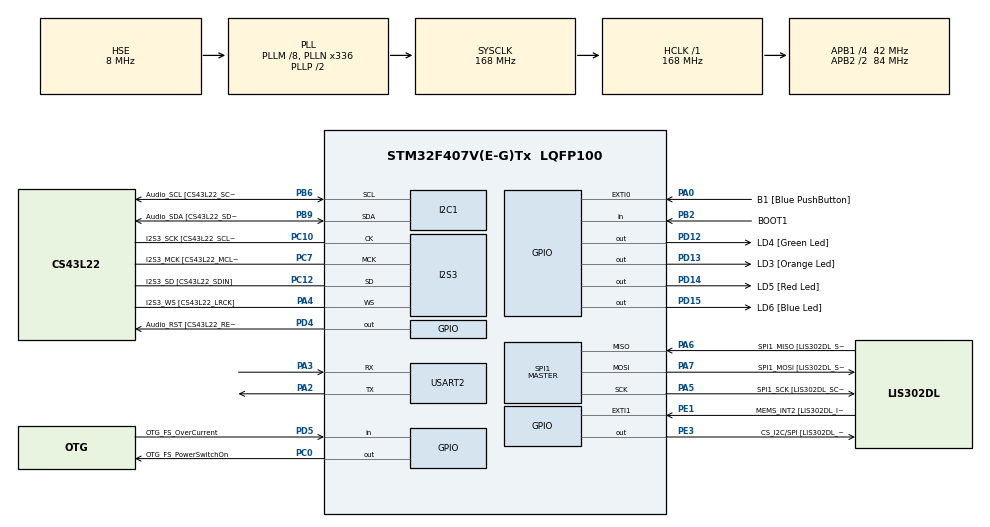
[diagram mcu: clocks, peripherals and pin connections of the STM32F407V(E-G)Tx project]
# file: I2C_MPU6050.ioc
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I2S3.AudioFreq-Half_Duplex_Master=I2S_AUDIOFREQ_96K
I2S3.ErrorAudioFreq=-2.34 %
I2S3.ErrorAudioFreq-Half_Duplex_Master=0.8 %
I2S3.FullDuplexMode=I2S_FULLDUPLEXMODE_DISABLE
I2S3.Instance=SPI$Index
I2S3.RealAudioFreq=93.75 KHz
I2S3.RealAudioFreq-Half_Duplex_Master=96.774 KHz
I2S3.VirtualMode=I2S_MODE_MASTER
Mcu.Family=STM32F4
Mcu.Name=STM32F407V(E-G)Tx
Mcu.Package=LQFP100
NVIC.PriorityGroup=NVIC_PRIORITYGROUP_0
PA0-WKUP.GPIO_Label=B1 [Blue PushButton]
PA0-WKUP.GPIO_ModeDefaultEXTI=GPIO_MODE_EVT_RISING
PA0-WKUP.GPIO_PuPd=GPIO_NOPULL
PA0-WKUP.Signal=GPXTI0
PA10.GPIO_Label=OTG_FS_ID
PA10.GPIO_Mode=GPIO_MODE_AF_PP
PA10.GPIO_PuPd=GPIO_NOPULL
PA10.GPIO_Speed=GPIO_SPEED_FREQ_LOW
PA10.Signal=USB_OTG_FS_ID
PA11.GPIO_Label=OTG_FS_DM
PA11.GPIO_Mode=GPIO_MODE_AF_PP
PA11.GPIO_PuPd=GPIO_NOPULL
PA11.GPIO_Speed=GPIO_SPEED_FREQ_LOW
PA11.Signal=USB_OTG_FS_DM
PA12.GPIO_Label=OTG_FS_DP
PA12.GPIO_Mode=GPIO_MODE_AF_PP
PA12.GPIO_PuPd=GPIO_NOPULL
PA12.GPIO_Speed=GPIO_SPEED_FREQ_LOW
PA12.Signal=USB_OTG_FS_DP
PA13.GPIO_Label=SWDIO
PA13.Mode=Serial_Wire
PA13.Signal=SYS_JTMS-SWDIO
PA14.GPIO_Label=SWCLK
PA14.Mode=Serial_Wire
PA14.Signal=SYS_JTCK-SWCLK
PA2.Mode=Asynchronous
PA2.Signal=USART2_TX
PA3.Mode=Asynchronous
PA3.Signal=USART2_RX
PA4.GPIO_Label=I2S3_WS [CS43L22_LRCK]
PA4.GPIO_Mode=GPIO_MODE_AF_PP
PA4.GPIO_PuPd=GPIO_NOPULL
PA4.GPIO_Speed=GPIO_SPEED_FREQ_LOW
PA4.Mode=Half_Duplex_Master
PA4.Signal=I2S3_WS
PA5.GPIO_Label=SPI1_SCK [LIS302DL_SCL/SPC]
PA5.GPIO_Mode=GPIO_MODE_AF_PP
PA5.GPIO_PuPd=GPIO_NOPULL
PA5.GPIO_Speed=GPIO_SPEED_FREQ_LOW
PA5.Mode=Full_Duplex_Master
PA5.Signal=SPI1_SCK
PA6.GPIO_Label=SPI1_MISO [LIS302DL_SDO]
PA6.GPIO_Mode=GPIO_MODE_AF_PP
PA6.GPIO_PuPd=GPIO_NOPULL
PA6.GPIO_Speed=GPIO_SPEED_FREQ_LOW
PA6.Mode=Full_Duplex_Master
PA6.Signal=SPI1_MISO
PA7.GPIO_Label=SPI1_MOSI [LIS302DL_SDA/SDI/SDO]
PA7.GPIO_Mode=GPIO_MODE_AF_PP
PA7.GPIO_PuPd=GPIO_NOPULL
PA7.GPIO_Speed=GPIO_SPEED_FREQ_LOW
PA7.Mode=Full_Duplex_Master
PA7.Signal=SPI1_MOSI
PA9.GPIO_Label=VBUS_FS
PA9.GPIO_Mode=GPIO_MODE_INPUT
PA9.GPIO_PuPd=GPIO_NOPULL
PA9.Signal=USB_OTG_FS_VBUS
PB10.GPIO_Label=CLK_IN [MP45DT02_CLK]
PB10.GPIO_Mode=GPIO_MODE_AF_PP
PB10.GPIO_PuPd=GPIO_NOPULL
PB10.GPIO_Speed=GPIO_SPEED_FREQ_LOW
PB10.Signal=I2S2_CK
PB2.GPIO_Label=BOOT1
PB2.GPIO_Mode=GPIO_MODE_INPUT
PB2.GPIO_PuPd=GPIO_NOPULL
PB2.Signal=GPIO_Input
PB3.GPIO_Label=SWO
PB3.Signal=SYS_JTDO-SWO
PB6.GPIO_Label=Audio_SCL [CS43L22_SCL]
PB6.GPIO_Mode=GPIO_MODE_AF_OD
PB6.GPIO_Pu=GPIO_PULLUP
PB6.GPIO_PuPd=GPIO_NOPULL
PB6.GPIO_Speed=GPIO_SPEED_FREQ_LOW
PB6.Mode=I2C
PB6.Signal=I2C1_SCL
PB9.GPIO_Label=Audio_SDA [CS43L22_SDA]
PB9.GPIO_Mode=GPIO_MODE_AF_OD
PB9.GPIO_Pu=GPIO_PULLUP
PB9.GPIO_PuPd=GPIO_NOPULL
PB9.GPIO_Speed=GPIO_SPEED_FREQ_LOW
PB9.Mode=I2C
PB9.Signal=I2C1_SDA
PC0.GPIO_Label=OTG_FS_PowerSwitchOn
PC0.GPIO_PuPd=GPIO_NOPULL
PC0.GPIO_Speed=GPIO_SPEED_FREQ_LOW
PC0.PinState=GPIO_PIN_SET
PC0.Signal=GPIO_Output
PC10.GPIO_Label=I2S3_SCK [CS43L22_SCLK]
PC10.GPIO_Mode=GPIO_MODE_AF_PP
PC10.GPIO_PuPd=GPIO_NOPULL
PC10.GPIO_Speed=GPIO_SPEED_FREQ_LOW
PC10.Mode=Half_Duplex_Master
PC10.Signal=I2S3_CK
PC12.GPIO_Label=I2S3_SD [CS43L22_SDIN]
PC12.GPIO_Mode=GPIO_MODE_AF_PP
PC12.GPIO_PuPd=GPIO_NOPULL
PC12.GPIO_Speed=GPIO_SPEED_FREQ_LOW
PC12.Mode=Half_Duplex_Master
PC12.Signal=I2S3_SD
PC14-OSC32_IN.GPIO_Label=PC14-OSC32_IN
PC14-OSC32_IN.Mode=LSE-External-Oscillator
PC14-OSC32_IN.Signal=RCC_OSC32_IN
PC15-OSC32_OUT.GPIO_Label=PC15-OSC32_OUT
PC15-OSC32_OUT.Mode=LSE-External-Oscillator
PC15-OSC32_OUT.Signal=RCC_OSC32_OUT
PC3.GPIO_Label=PDM_OUT [MP45DT02_DOUT]
PC3.GPIO_Mode=GPIO_MODE_AF_PP
PC3.GPIO_PuPd=GPIO_NOPULL
PC3.GPIO_Speed=GPIO_SPEED_FREQ_LOW
PC3.Signal=I2S2_SD
PC7.GPIO_Label=I2S3_MCK [CS43L22_MCLK]
PC7.GPIO_Mode=GPIO_MODE_AF_PP
PC7.GPIO_PuPd=GPIO_NOPULL
PC7.GPIO_Speed=GPIO_SPEED_FREQ_LOW
PC7.Mode=Master_Clock_Activated
PC7.Signal=I2S3_MCK
PD12.GPIO_Label=LD4 [Green Led]
PD12.GPIO_PuPd=GPIO_NOPULL
PD12.GPIO_Speed=GPIO_SPEED_FREQ_LOW
PD12.Signal=GPIO_Output
PD13.GPIO_Label=LD3 [Orange Led]
PD13.GPIO_PuPd=GPIO_NOPULL
PD13.GPIO_Speed=GPIO_SPEED_FREQ_LOW
PD13.Signal=GPIO_Output
PD14.GPIO_Label=LD5 [Red Led]
PD14.GPIO_PuPd=GPIO_NOPULL
PD14.GPIO_Speed=GPIO_SPEED_FREQ_LOW
PD14.Signal=GPIO_Output
PD15.GPIO_Label=LD6 [Blue Led]
PD15.GPIO_PuPd=GPIO_NOPULL
PD15.GPIO_Speed=GPIO_SPEED_FREQ_LOW
PD15.Signal=GPIO_Output
PD4.GPIO_Label=Audio_RST [CS43L22_RESET]
PD4.GPIO_PuPd=GPIO_NOPULL
PD4.GPIO_Speed=GPIO_SPEED_FREQ_LOW
PD4.Signal=GPIO_Output
PD5.GPIO_Label=OTG_FS_OverCurrent
PD5.GPIO_Mode=GPIO_MODE_INPUT
PD5.GPIO_PuPd=GPIO_NOPULL
PD5.Signal=GPIO_Input
PE1.GPIO_Label=MEMS_INT2 [LIS302DL_INT2]
PE1.GPIO_ModeDefaultEXTI=GPIO_MODE_EVT_RISING
PE1.GPIO_PuPd=GPIO_NOPULL
PE1.Signal=GPXTI1
PE3.GPIO_Label=CS_I2C/SPI [LIS302DL_CS_I2C/SPI]
PE3.GPIO_PuPd=GPIO_NOPULL
PE3.GPIO_Speed=GPIO_SPEED_FREQ_LOW
PE3.Signal=GPIO_Output
PH0-OSC_IN.GPIO_Label=PH0-OSC_IN
PH0-OSC_IN.Mode=HSE-External-Oscillator
PH0-OSC_IN.Signal=RCC_OSC_IN
PH1-OSC_OUT.GPIO_Label=PH1-OSC_OUT
PH1-OSC_OUT.Mode=HSE-External-Oscillator
PH1-OSC_OUT.Signal=RCC_OSC_OUT
ProjectManager.HeapSize=0x200
ProjectManager.StackSize=0x400
ProjectManager.TargetToolchain=STM32CubeIDE
RCC.48MHZClocksFreq_Value=48000000
RCC.AHBFreq_Value=168000000
RCC.APB1CLKDivider=RCC_HCLK_DIV4
RCC.APB1Freq_Value=42000000
RCC.APB1TimFreq_Value=84000000
RCC.APB2CLKDivider=RCC_HCLK_DIV2
RCC.APB2Freq_Value=84000000
RCC.APB2TimFreq_Value=168000000
RCC.CortexFreq_Value=168000000
RCC.HCLKFreq_Value=168000000
RCC.HSE_VALUE=8000000
RCC.HSI_VALUE=16000000
RCC.PLLM=8
RCC.PLLN=336
RCC.PLLQ=7
RCC.PLLSourceVirtual=RCC_PLLSOURCE_HSE
RCC.SYSCLKFreq_VALUE=168000000
RCC.SYSCLKSource=RCC_SYSCLKSOURCE_PLLCLK
RCC.VCOOutputFreq_Value=336000000
SPI1.BaudRatePrescaler-Full_Duplex_Master=SPI_BAUDRATEPRESCALER_2
SPI1.CalculateBaudRate-Full_Duplex_Master=42.0 MBits/s
SPI1.Direction=SPI_DIRECTION_2LINES
SPI1.Mode=SPI_MODE_MASTER
SPI1.Mode-Full_Duplex_Master=SPI_MODE_MASTER
SPI1.VirtualType=VM_MASTER
USART2.VirtualMode=VM_ASYNC
board=STM32F407G-DISC1

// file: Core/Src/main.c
/* USER CODE BEGIN Header */
/**
  ******************************************************************************
  * @file           : main.c
  * @brief          : Main program body
  ******************************************************************************
  * @attention
  *
  * Copyright (c) 2023 STMicroelectronics.
  * All rights reserved.
  *
  * This software is licensed under terms that can be found in the LICENSE file
  * in the root directory of this software component.
  * If no LICENSE file comes with this software, it is provided AS-IS.
  *
  ******************************************************************************
  */
/* USER CODE END Header */
#include "main.h"
#include <stdio.h>

I2C_HandleTypeDef hi2c1;

I2S_HandleTypeDef hi2s3;

SPI_HandleTypeDef hspi1;

UART_HandleTypeDef huart2;

void SystemClock_Config(void);
static void MX_GPIO_Init(void);
static void MX_I2C1_Init(void);
static void MX_I2S3_Init(void);
static void MX_SPI1_Init(void);
static void MX_USART2_UART_Init(void);
/* USER CODE BEGIN PFP */
uint32_t _write(int file, char* p, int len){
	HAL_UART_Transmit(&huart2, p, len, 10);
	return len;

}
/* USER CODE END PFP */

/* USER CODE BEGIN 0 */
#define MPU6050_ADDRESS 0x68 << 1 // last bit is for read/write bit

//MPU6050 Register addresses. You can download the register map from internet
#define smplrt_dv_register      0x19
#define gyro_comfig_register    0x1B
#define accel_config_register   0x1C
#define accel_x_out_h_register  0x3B
#define temp_out_h_reg          0x41
#define gyro_x_out_h_register   0x43
#define pwr_mgmt_1_register     0x6B
#define who_i_am                0x75

//this array store the raw data of X,Y and Z axis of accelerometer
uint8_t Receive_Data[6];

int16_t Accel_X_RAW_DATA = 0;
int16_t Accel_Y_RAW_DATA = 0;
int16_t Accel_Z_RAW_DATA = 0;

float Ax, Ay, Az;

void PMU6050_Init(void){
    uint8_t check_val, sendData;
    HAL_I2C_Mem_Read(&hi2c1, MPU6050_ADDRESS, who_i_am, 1, &check_val, 1, 1000);
    if(check_val == 104){
        sendData = 0x00;
	HAL_I2C_Mem_Write(&hi2c1, MPU6050_ADDRESS, pwr_mgmt_1_register, 1, &sendData, 1, 1000);
	sendData = 0x07;
	HAL_I2C_Mem_Write(&hi2c1, MPU6050_ADDRESS, smplrt_dv_register, 1, &sendData, 1, 1000);
	sendData = 0x00;
	HAL_I2C_Mem_Write(&hi2c1, MPU6050_ADDRESS, gyro_comfig_register, 1, &sendData, 1, 1000);
	sendData = 0x00;
        HAL_I2C_Mem_Write(&hi2c1, MPU6050_ADDRESS, accel_config_register, 1, &sendData, 1, 1000);
    }
}
/* USER CODE END 0 */

int main(void)
{

  /* MCU Configuration--------------------------------------------------------*/

  /* Reset of all peripherals, Initializes the Flash interface and the Systick. */
  HAL_Init();

  /* Configure the system clock */
  SystemClock_Config();

  /* Initialize all configured peripherals */
  MX_GPIO_Init();
  MX_I2C1_Init();
  MX_I2S3_Init();
  MX_SPI1_Init();
  MX_USART2_UART_Init();
  /* USER CODE BEGIN 2 */
  PMU6050_Init();
  /* USER CODE END 2 */

  /* Infinite loop */
  while (1)
  {
	  /* USER CODE END WHILE */
	      HAL_I2C_Mem_Read(&hi2c1, MPU6050_ADDRESS, accel_x_out_h_register, 1, Receive_Data, 6, 1000);
	      Accel_X_RAW_DATA = (int16_t)(Receive_Data[0] << 8 | Receive_Data [1]);
	      Accel_Y_RAW_DATA = (int16_t)(Receive_Data[2] << 8 | Receive_Data [3]);
	      Accel_Z_RAW_DATA = (int16_t)(Receive_Data[4] << 8 | Receive_Data [5]);

	      Ax = Accel_X_RAW_DATA/16384.0;
	      Ay = Accel_Y_RAW_DATA/16384.0;
	      Az = Accel_Z_RAW_DATA/16384.0;
	      printf("A`CC_X=%f",Ax );
	      printf("ACC_y=%f",Ay );
	      printf("ACC_z=%f\n",Az );
	      HAL_Delay(1000);
  }
}

void SystemClock_Config(void)
{
  RCC_OscInitTypeDef RCC_OscInitStruct = {0};
  RCC_ClkInitTypeDef RCC_ClkInitStruct = {0};

  /** Configure the main internal regulator output voltage
  */
  __HAL_RCC_PWR_CLK_ENABLE();
  __HAL_PWR_VOLTAGESCALING_CONFIG(PWR_REGULATOR_VOLTAGE_SCALE1);

  /** Initializes the RCC Oscillators according to the specified parameters
  * in the RCC_OscInitTypeDef structure.
  */
  RCC_OscInitStruct.OscillatorType = RCC_OSCILLATORTYPE_HSE;
  RCC_OscInitStruct.HSEState = RCC_HSE_ON;
  RCC_OscInitStruct.PLL.PLLState = RCC_PLL_ON;
  RCC_OscInitStruct.PLL.PLLSource = RCC_PLLSOURCE_HSE;
  RCC_OscInitStruct.PLL.PLLM = 8;
  RCC_OscInitStruct.PLL.PLLN = 336;
  RCC_OscInitStruct.PLL.PLLP = RCC_PLLP_DIV2;
  RCC_OscInitStruct.PLL.PLLQ = 7;
  if (HAL_RCC_OscConfig(&RCC_OscInitStruct) != HAL_OK)
  {
    Error_Handler();
  }

  /** Initializes the CPU, AHB and APB buses clocks
  */
  RCC_ClkInitStruct.ClockType = RCC_CLOCKTYPE_HCLK|RCC_CLOCKTYPE_SYSCLK
                              |RCC_CLOCKTYPE_PCLK1|RCC_CLOCKTYPE_PCLK2;
  RCC_ClkInitStruct.SYSCLKSource = RCC_SYSCLKSOURCE_PLLCLK;
  RCC_ClkInitStruct.AHBCLKDivider = RCC_SYSCLK_DIV1;
  RCC_ClkInitStruct.APB1CLKDivider = RCC_HCLK_DIV4;
  RCC_ClkInitStruct.APB2CLKDivider = RCC_HCLK_DIV2;

  if (HAL_RCC_ClockConfig(&RCC_ClkInitStruct, FLASH_LATENCY_5) != HAL_OK)
  {
    Error_Handler();
  }
}

static void MX_I2C1_Init(void)
{

  hi2c1.Instance = I2C1;
  hi2c1.Init.ClockSpeed = 100000;
  hi2c1.Init.DutyCycle = I2C_DUTYCYCLE_2;
  hi2c1.Init.OwnAddress1 = 0;
  hi2c1.Init.AddressingMode = I2C_ADDRESSINGMODE_7BIT;
  hi2c1.Init.DualAddressMode = I2C_DUALADDRESS_DISABLE;
  hi2c1.Init.OwnAddress2 = 0;
  hi2c1.Init.GeneralCallMode = I2C_GENERALCALL_DISABLE;
  hi2c1.Init.NoStretchMode = I2C_NOSTRETCH_DISABLE;
  if (HAL_I2C_Init(&hi2c1) != HAL_OK)
  {
    Error_Handler();
  }

}

static void MX_I2S3_Init(void)
{

  hi2s3.Instance = SPI3;
  hi2s3.Init.Mode = I2S_MODE_MASTER_TX;
  hi2s3.Init.Standard = I2S_STANDARD_PHILIPS;
  hi2s3.Init.DataFormat = I2S_DATAFORMAT_16B;
  hi2s3.Init.MCLKOutput = I2S_MCLKOUTPUT_ENABLE;
  hi2s3.Init.AudioFreq = I2S_AUDIOFREQ_96K;
  hi2s3.Init.CPOL = I2S_CPOL_LOW;
  hi2s3.Init.ClockSource = I2S_CLOCK_PLL;
  hi2s3.Init.FullDuplexMode = I2S_FULLDUPLEXMODE_DISABLE;
  if (HAL_I2S_Init(&hi2s3) != HAL_OK)
  {
    Error_Handler();
  }

}

static void MX_SPI1_Init(void)
{

  /* SPI1 parameter configuration*/
  hspi1.Instance = SPI1;
  hspi1.Init.Mode = SPI_MODE_MASTER;
  hspi1.Init.Direction = SPI_DIRECTION_2LINES;
  hspi1.Init.DataSize = SPI_DATASIZE_8BIT;
  hspi1.Init.CLKPolarity = SPI_POLARITY_LOW;
  hspi1.Init.CLKPhase = SPI_PHASE_1EDGE;
  hspi1.Init.NSS = SPI_NSS_SOFT;
  hspi1.Init.BaudRatePrescaler = SPI_BAUDRATEPRESCALER_2;
  hspi1.Init.FirstBit = SPI_FIRSTBIT_MSB;
  hspi1.Init.TIMode = SPI_TIMODE_DISABLE;
  hspi1.Init.CRCCalculation = SPI_CRCCALCULATION_DISABLE;
  hspi1.Init.CRCPolynomial = 10;
  if (HAL_SPI_Init(&hspi1) != HAL_OK)
  {
    Error_Handler();
  }

}

static void MX_USART2_UART_Init(void)
{

  huart2.Instance = USART2;
  huart2.Init.BaudRate = 115200;
  huart2.Init.WordLength = UART_WORDLENGTH_8B;
  huart2.Init.StopBits = UART_STOPBITS_1;
  huart2.Init.Parity = UART_PARITY_NONE;
  huart2.Init.Mode = UART_MODE_TX_RX;
  huart2.Init.HwFlowCtl = UART_HWCONTROL_NONE;
  huart2.Init.OverSampling = UART_OVERSAMPLING_16;
  if (HAL_UART_Init(&huart2) != HAL_OK)
  {
    Error_Handler();
  }

}

static void MX_GPIO_Init(void)
{
  GPIO_InitTypeDef GPIO_InitStruct = {0};

  /* GPIO Ports Clock Enable */
  __HAL_RCC_GPIOE_CLK_ENABLE();
  __HAL_RCC_GPIOC_CLK_ENABLE();
  __HAL_RCC_GPIOH_CLK_ENABLE();
  __HAL_RCC_GPIOA_CLK_ENABLE();
  __HAL_RCC_GPIOB_CLK_ENABLE();
  __HAL_RCC_GPIOD_CLK_ENABLE();

  /*Configure GPIO pin Output Level */
  HAL_GPIO_WritePin(CS_I2C_SPI_GPIO_Port, CS_I2C_SPI_Pin, GPIO_PIN_RESET);

  /*Configure GPIO pin Output Level */
  HAL_GPIO_WritePin(OTG_FS_PowerSwitchOn_GPIO_Port, OTG_FS_PowerSwitchOn_Pin, GPIO_PIN_SET);

  /*Configure GPIO pin Output Level */
  HAL_GPIO_WritePin(GPIOD, LD4_Pin|LD3_Pin|LD5_Pin|LD6_Pin
                          |Audio_RST_Pin, GPIO_PIN_RESET);

  /*Configure GPIO pin : CS_I2C_SPI_Pin */
  GPIO_InitStruct.Pin = CS_I2C_SPI_Pin;
  GPIO_InitStruct.Mode = GPIO_MODE_OUTPUT_PP;
  GPIO_InitStruct.Pull = GPIO_NOPULL;
  GPIO_InitStruct.Speed = GPIO_SPEED_FREQ_LOW;
  HAL_GPIO_Init(CS_I2C_SPI_GPIO_Port, &GPIO_InitStruct);

  /*Configure GPIO pin : OTG_FS_PowerSwitchOn_Pin */
  GPIO_InitStruct.Pin = OTG_FS_PowerSwitchOn_Pin;
  GPIO_InitStruct.Mode = GPIO_MODE_OUTPUT_PP;
  GPIO_InitStruct.Pull = GPIO_NOPULL;
  GPIO_InitStruct.Speed = GPIO_SPEED_FREQ_LOW;
  HAL_GPIO_Init(OTG_FS_PowerSwitchOn_GPIO_Port, &GPIO_InitStruct);

  /*Configure GPIO pin : PDM_OUT_Pin */
  GPIO_InitStruct.Pin = PDM_OUT_Pin;
  GPIO_InitStruct.Mode = GPIO_MODE_AF_PP;
  GPIO_InitStruct.Pull = GPIO_NOPULL;
  GPIO_InitStruct.Speed = GPIO_SPEED_FREQ_LOW;
  GPIO_InitStruct.Alternate = GPIO_AF5_SPI2;
  HAL_GPIO_Init(PDM_OUT_GPIO_Port, &GPIO_InitStruct);

  /*Configure GPIO pin : B1_Pin */
  GPIO_InitStruct.Pin = B1_Pin;
  GPIO_InitStruct.Mode = GPIO_MODE_EVT_RISING;
  GPIO_InitStruct.Pull = GPIO_NOPULL;
  HAL_GPIO_Init(B1_GPIO_Port, &GPIO_InitStruct);

  /*Configure GPIO pin : BOOT1_Pin */
  GPIO_InitStruct.Pin = BOOT1_Pin;
  GPIO_InitStruct.Mode = GPIO_MODE_INPUT;
  GPIO_InitStruct.Pull = GPIO_NOPULL;
  HAL_GPIO_Init(BOOT1_GPIO_Port, &GPIO_InitStruct);

  /*Configure GPIO pin : CLK_IN_Pin */
  GPIO_InitStruct.Pin = CLK_IN_Pin;
  GPIO_InitStruct.Mode = GPIO_MODE_AF_PP;
  GPIO_InitStruct.Pull = GPIO_NOPULL;
  GPIO_InitStruct.Speed = GPIO_SPEED_FREQ_LOW;
  GPIO_InitStruct.Alternate = GPIO_AF5_SPI2;
  HAL_GPIO_Init(CLK_IN_GPIO_Port, &GPIO_InitStruct);

  /*Configure GPIO pins : LD4_Pin LD3_Pin LD5_Pin LD6_Pin
                           Audio_RST_Pin */
  GPIO_InitStruct.Pin = LD4_Pin|LD3_Pin|LD5_Pin|LD6_Pin
                          |Audio_RST_Pin;
  GPIO_InitStruct.Mode = GPIO_MODE_OUTPUT_PP;
  GPIO_InitStruct.Pull = GPIO_NOPULL;
  GPIO_InitStruct.Speed = GPIO_SPEED_FREQ_LOW;
  HAL_GPIO_Init(GPIOD, &GPIO_InitStruct);

  /*Configure GPIO pin : VBUS_FS_Pin */
  GPIO_InitStruct.Pin = VBUS_FS_Pin;
  GPIO_InitStruct.Mode = GPIO_MODE_INPUT;
  GPIO_InitStruct.Pull = GPIO_NOPULL;
  HAL_GPIO_Init(VBUS_FS_GPIO_Port, &GPIO_InitStruct);

  /*Configure GPIO pins : OTG_FS_ID_Pin OTG_FS_DM_Pin OTG_FS_DP_Pin */
  GPIO_InitStruct.Pin = OTG_FS_ID_Pin|OTG_FS_DM_Pin|OTG_FS_DP_Pin;
  GPIO_InitStruct.Mode = GPIO_MODE_AF_PP;
  GPIO_InitStruct.Pull = GPIO_NOPULL;
  GPIO_InitStruct.Speed = GPIO_SPEED_FREQ_LOW;
  GPIO_InitStruct.Alternate = GPIO_AF10_OTG_FS;
  HAL_GPIO_Init(GPIOA, &GPIO_InitStruct);

  /*Configure GPIO pin : OTG_FS_OverCurrent_Pin */
  GPIO_InitStruct.Pin = OTG_FS_OverCurrent_Pin;
  GPIO_InitStruct.Mode = GPIO_MODE_INPUT;
  GPIO_InitStruct.Pull = GPIO_NOPULL;
  HAL_GPIO_Init(OTG_FS_OverCurrent_GPIO_Port, &GPIO_InitStruct);

  /*Configure GPIO pin : MEMS_INT2_Pin */
  GPIO_InitStruct.Pin = MEMS_INT2_Pin;
  GPIO_InitStruct.Mode = GPIO_MODE_EVT_RISING;
  GPIO_InitStruct.Pull = GPIO_NOPULL;
  HAL_GPIO_Init(MEMS_INT2_GPIO_Port, &GPIO_InitStruct);

}

void Error_Handler(void)
{
  __disable_irq();
  while (1)
  {
  }
}
